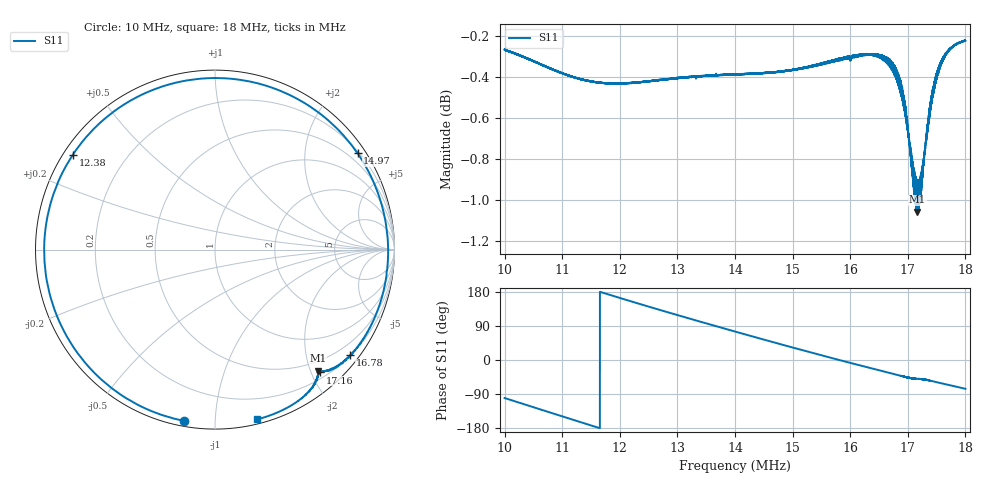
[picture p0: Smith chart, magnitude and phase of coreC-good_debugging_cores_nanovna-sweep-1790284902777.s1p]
! NanoVNA Web complex sweep
! Processing: unaveraged complex samples; linear segment spacing; no smoothing
# Hz S RI R 50
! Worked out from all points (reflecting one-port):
!   10100 points, 10 MHz to 18 MHz, reference 50 ohm
!   lowest |S11| = -1.1 dB at 17.16 MHz (marker M1), VSWR 16.49, Z = 16.9 - j106 ohm
!   phase of S11 starts at -100 deg and turns -336 deg over the sweep
!   S11 on the Smith chart (normalised r, x): 10 MHz: 0.03, -0.83; 12.38 MHz: 0.03, +0.30; 14.97 MHz: 0.25, +3.25; 16.78 MHz: 0.21, -2.89; 17.16 MHz: 0.30, -2.13; 18 MHz: 0.03, -1.28
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1e7  -0.1746 -0.9539
1.022651e7  -0.3513 -0.9009
1.047045e7  -0.5266 -0.8074
1.074369e7  -0.6948 -0.6629
1.10003e7  -0.818 -0.4967
1.125136e7  -0.9014 -0.3136
1.149846e7  -0.9448 -0.1224
1.174794e7  -0.9488 0.0733
1.19998e7  -0.9138 0.2654
1.238234e7  -0.7916 0.5295
1.270072e7  -0.636 0.7102
1.30001e7  -0.456 0.8386
1.349826e7  -0.1119 0.9491
1.374774e7  0.0677 0.9537
1.39996e7  0.2457 0.9244
1.446134e7  0.5422 0.7886
1.497297e7  0.7942 0.5368
1.49991e7  0.8045 0.5216
1.55044e7  0.9405 0.2037
1.59994e7  0.9563 -0.1269
1.639857e7  0.889 -0.3799
1.67811e7  0.7534 -0.5887
1.69989e7  0.6405 -0.67
1.716206e7  0.5836 -0.6845
1.716443e7  0.5732 -0.6751
1.744084e7  0.5232 -0.7883
1.770299e7  0.3958 -0.8844
1.799841e7  0.2356 -0.9457
